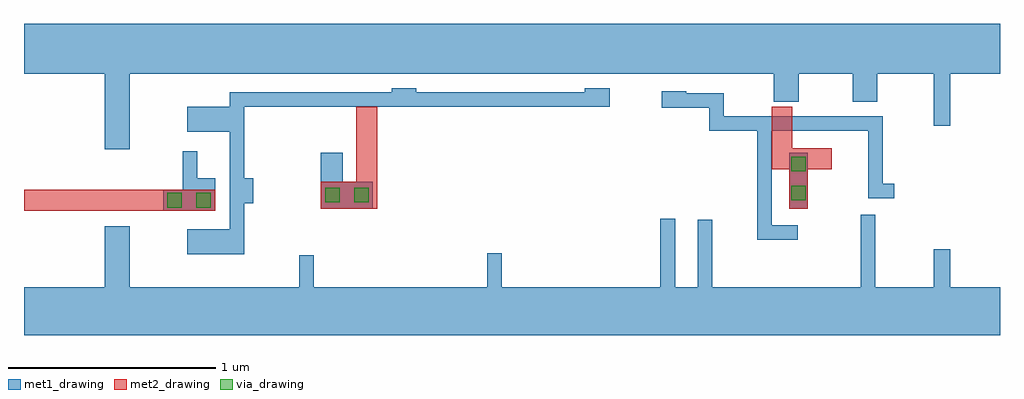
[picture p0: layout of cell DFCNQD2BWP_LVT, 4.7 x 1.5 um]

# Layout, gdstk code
import gdstk
lib = gdstk.Library(unit=1e-6, precision=1e-09)
def R(c, l, rs):  # rectangles x0, y0, x1, y1
    for r in rs: c.add(gdstk.rectangle(r[:2], r[2:], *l))
def P(c, l, *ps):  # polygons
    for p in ps: c.add(gdstk.Polygon(p, *l))
met1_drawing = (31, 0)
met2_drawing = (32, 0)
via_drawing = (51, 0)

dfcnqd2bwp_lvt = lib.new_cell('DFCNQD2BWP_LVT')
R(dfcnqd2bwp_lvt, met1_drawing, [(0.62,0.55,0.87,0.65), (3.635,0.56,3.725,0.83)])
P(dfcnqd2bwp_lvt, met1_drawing, [(0.715,0.55),(0.715,0.835),(0.785,0.835),(0.785,0.705),(0.87,0.705),(0.87,0.55)],
  [(0.735,0.34),(0.735,0.46),(0.94,0.46),(0.94,0.93),(0.735,0.93),(0.735,1.05),(0.94,1.05),(0.94,1.12),(1.72,1.12),(1.72,1.14),(1.84,1.14),(1.84,1.12),(2.65,1.12),(2.65,1.14),(2.77,1.14),(2.77,1.05),(1.01,1.05),(1.01,0.705),(1.055,0.705),(1.055,0.585),(1.01,0.585),(1.01,0.34)],
  [(4.33,0.96),(4.33,1.21),(4.06,1.21),(4.06,1.075),(3.94,1.075),(3.94,1.21),(3.68,1.21),(3.68,1.075),(3.56,1.075),(3.56,1.21),(0.68,1.21),(0.68,1.45),(4.65,1.45),(4.65,1.21),(4.41,1.21),(4.41,0.96)],
  [(1.38,0.56),(1.38,0.83),(1.485,0.83),(1.485,0.69),(1.63,0.69),(1.63,0.56)],
  [(0.68,-0.05),(0.68,0.18),(1.275,0.18),(1.275,0.335),(1.345,0.335),(1.345,0.18),(2.18,0.18),(2.18,0.345),(2.25,0.345),(2.25,0.18),(3.015,0.18),(3.015,0.51),(3.085,0.51),(3.085,0.18),(3.195,0.18),(3.195,0.505),(3.265,0.505),(3.265,0.18),(3.98,0.18),(3.98,0.53),(4.05,0.53),(4.05,0.18),(4.33,0.18),(4.33,0.365),(4.41,0.365),(4.41,0.18),(4.65,0.18),(4.65,-0.05)],
  [(3.48,0.41),(3.48,0.935),(3.25,0.935),(3.25,1.045),(3.02,1.045),(3.02,1.125),(3.14,1.125),(3.14,1.115),(3.32,1.115),(3.32,1.005),(4.085,1.005),(4.085,0.68),(4.14,0.68),(4.14,0.61),(4.015,0.61),(4.015,0.935),(3.55,0.935),(3.55,0.48),(3.675,0.48),(3.675,0.41)],
  [(0.34,0.845),(0.34,1.21),(-0.05,1.21),(-0.05,1.45),(0.68,1.45),(0.68,1.21),(0.46,1.21),(0.46,0.845)],
  [(-0.05,-0.05),(-0.05,0.18),(0.34,0.18),(0.34,0.475),(0.46,0.475),(0.46,0.18),(0.68,0.18),(0.68,-0.05)])
R(dfcnqd2bwp_lvt, met2_drawing, [(-0.05,0.55,0.87,0.65), (1.38,0.56,1.63,0.69), (1.55,0.56,1.65,1.05), (3.635,0.56,3.725,0.85), (3.55,0.75,3.84,0.85), (3.55,0.75,3.65,1.05)])
R(dfcnqd2bwp_lvt, via_drawing, [(0.64,0.565,0.71,0.635), (0.78,0.565,0.85,0.635), (1.4,0.59,1.47,0.66), (1.54,0.59,1.61,0.66), (3.645,0.6,3.715,0.67), (3.645,0.74,3.715,0.81)])

lib.write_gds('DFCNQD2BWP_LVT.gds')
